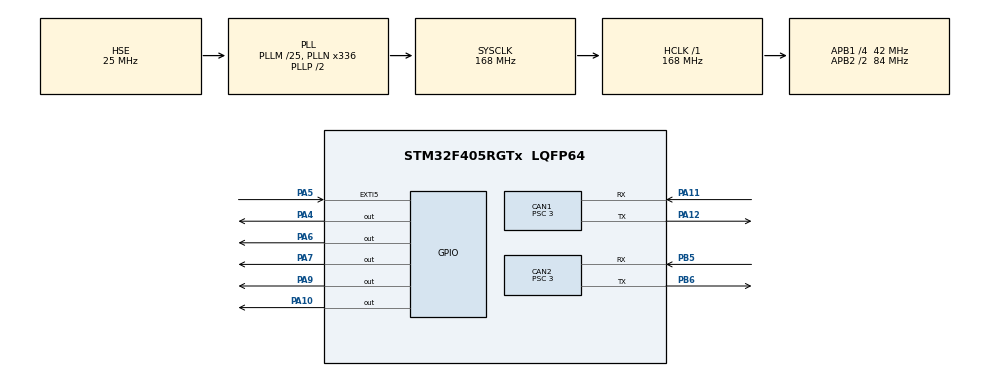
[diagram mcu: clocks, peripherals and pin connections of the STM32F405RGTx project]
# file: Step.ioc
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CAN1.ABOM=ENABLE
CAN1.AWUM=ENABLE
CAN1.BS1=CAN_BS1_9TQ
CAN1.BS2=CAN_BS2_4TQ
CAN1.CalculateBaudRate=1000000
CAN1.CalculateTimeBit=1000
CAN1.CalculateTimeQuantum=71.42857142857143
CAN1.NART=DISABLE
CAN1.Prescaler=3
CAN2.ABOM=ENABLE
CAN2.AWUM=ENABLE
CAN2.BS1=CAN_BS1_9TQ
CAN2.BS2=CAN_BS2_4TQ
CAN2.CalculateBaudRate=1000000
CAN2.CalculateTimeBit=1000
CAN2.CalculateTimeQuantum=71.42857142857143
CAN2.Prescaler=3
FREERTOS.Tasks01=defaultTask,24,128,StartDefaultTask,Default,NULL,Dynamic,NULL,NULL
FREERTOS.configCHECK_FOR_STACK_OVERFLOW=2
FREERTOS.configMAX_TASK_NAME_LEN=20
FREERTOS.configMINIMAL_STACK_SIZE=64
FREERTOS.configTIMER_TASK_STACK_DEPTH=128
FREERTOS.configUSE_MALLOC_FAILED_HOOK=1
Mcu.Family=STM32F4
Mcu.Name=STM32F405RGTx
Mcu.Package=LQFP64
NVIC.CAN1_RX0_IRQn=true\:5\:0\:false\:false\:true\:true\:true\:true\:true
NVIC.CAN1_RX1_IRQn=true\:5\:0\:false\:false\:true\:true\:true\:true\:true
NVIC.CAN1_TX_IRQn=true\:5\:0\:false\:false\:true\:true\:true\:true\:true
NVIC.CAN2_RX0_IRQn=true\:5\:0\:false\:false\:true\:true\:true\:true\:true
NVIC.CAN2_RX1_IRQn=true\:5\:0\:false\:false\:true\:true\:true\:true\:true
NVIC.CAN2_TX_IRQn=true\:5\:0\:false\:false\:true\:true\:true\:true\:true
NVIC.PriorityGroup=NVIC_PRIORITYGROUP_4
NVIC.TIM1_UP_TIM10_IRQn=true\:15\:0\:false\:false\:true\:false\:false\:true\:true
NVIC.TIM2_IRQn=true\:5\:0\:false\:false\:true\:true\:true\:true\:true
NVIC.TIM3_IRQn=true\:5\:0\:false\:false\:true\:true\:true\:true\:true
NVIC.TimeBase=TIM1_UP_TIM10_IRQn
NVIC.TimeBaseIP=TIM1
PA0-WKUP.Mode=SYS_WakeUp0
PA0-WKUP.Signal=SYS_WKUP
PA10.Signal=GPIO_Output
PA11.GPIO_PuPd=GPIO_PULLDOWN
PA11.Mode=CAN_Activate
PA11.Signal=CAN1_RX
PA12.GPIO_PuPd=GPIO_PULLDOWN
PA12.Mode=CAN_Activate
PA12.Signal=CAN1_TX
PA13.Mode=Serial_Wire
PA13.Signal=SYS_JTMS-SWDIO
PA14.Mode=Serial_Wire
PA14.Signal=SYS_JTCK-SWCLK
PA4.Signal=GPIO_Output
PA5.Signal=GPXTI5
PA6.Signal=GPIO_Output
PA7.Signal=GPIO_Output
PA9.Signal=GPIO_Output
PB5.Mode=CAN_Activate
PB5.Signal=CAN2_RX
PB6.Mode=CAN_Activate
PB6.Signal=CAN2_TX
PH0-OSC_IN.Mode=HSE-External-Oscillator
PH0-OSC_IN.Signal=RCC_OSC_IN
PH1-OSC_OUT.Mode=HSE-External-Oscillator
PH1-OSC_OUT.Signal=RCC_OSC_OUT
ProjectManager.HeapSize=0x400
ProjectManager.StackSize=0x800
ProjectManager.TargetToolchain=MDK-ARM V5.32
RCC.48MHZClocksFreq_Value=84000000
RCC.AHBFreq_Value=168000000
RCC.APB1CLKDivider=RCC_HCLK_DIV4
RCC.APB1Freq_Value=42000000
RCC.APB1TimFreq_Value=84000000
RCC.APB2CLKDivider=RCC_HCLK_DIV2
RCC.APB2Freq_Value=84000000
RCC.APB2TimFreq_Value=168000000
RCC.CortexFreq_Value=168000000
RCC.HCLKFreq_Value=168000000
RCC.HSE_VALUE=25000000
RCC.HSI_VALUE=16000000
RCC.LSE_VALUE=32768
RCC.PLLM=25
RCC.PLLN=336
RCC.PLLSourceVirtual=RCC_PLLSOURCE_HSE
RCC.SYSCLKFreq_VALUE=168000000
RCC.SYSCLKSource=RCC_SYSCLKSOURCE_PLLCLK
RCC.VCOOutputFreq_Value=336000000
TIM2.Period=999
TIM2.Prescaler=167
TIM3.Period=9999
TIM3.Prescaler=167
VP_FREERTOS_VS_CMSIS_V2.Mode=CMSIS_V2
VP_SYS_VS_tim1.Mode=TIM1
VP_TIM2_VS_ClockSourceINT.Mode=Internal
VP_TIM3_VS_ClockSourceINT.Mode=Internal
board=custom

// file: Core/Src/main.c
/* USER CODE BEGIN Header */
/**
  ******************************************************************************
  * @file           : main.c
  * @brief          : Main program body
  ******************************************************************************
  * @attention
  *
  * Copyright (c) 2025 STMicroelectronics.
  * All rights reserved.
  *
  * This software is licensed under terms that can be found in the LICENSE file
  * in the root directory of this software component.
  * If no LICENSE file comes with this software, it is provided AS-IS.
  *
  ******************************************************************************
  */
/* USER CODE END Header */
#include "main.h"
#include "cmsis_os.h"
#include "can.h"
#include "tim.h"
#include "gpio.h"

/* USER CODE BEGIN Includes */
#include "dj.h"
#include "zdrive.h"
#include "valve.h"
/* USER CODE END Includes */

void SystemClock_Config(void);
void MX_FREERTOS_Init(void);

int main(void)
{

  /* MCU Configuration--------------------------------------------------------*/

  /* Reset of all peripherals, Initializes the Flash interface and the Systick. */
  HAL_Init();

  /* Configure the system clock */
  SystemClock_Config();

  /* Initialize all configured peripherals */
  MX_GPIO_Init();
  MX_CAN1_Init();
  MX_CAN2_Init();
  MX_TIM2_Init();
  MX_TIM3_Init();
  /* USER CODE BEGIN 2 */
	CAN_Queue_Init(&CAN2_Queue, endian, 2);
  CAN_Queue_Init(&ZDrive_Queue, endian, 1);
	ZDrive_Init();
	djmotor_init();
  /* USER CODE END 2 */

  /* Init scheduler */
  osKernelInitialize();  /* Call init function for freertos objects (in cmsis_os2.c) */
  MX_FREERTOS_Init();

  /* Start scheduler */
  osKernelStart();

  /* We should never get here as control is now taken by the scheduler */

  /* Infinite loop */
  while (1)
  {

  }
}

void SystemClock_Config(void)
{
  RCC_OscInitTypeDef RCC_OscInitStruct = {0};
  RCC_ClkInitTypeDef RCC_ClkInitStruct = {0};

  /** Configure the main internal regulator output voltage
  */
  __HAL_RCC_PWR_CLK_ENABLE();
  __HAL_PWR_VOLTAGESCALING_CONFIG(PWR_REGULATOR_VOLTAGE_SCALE1);

  /** Initializes the RCC Oscillators according to the specified parameters
  * in the RCC_OscInitTypeDef structure.
  */
  RCC_OscInitStruct.OscillatorType = RCC_OSCILLATORTYPE_HSE;
  RCC_OscInitStruct.HSEState = RCC_HSE_ON;
  RCC_OscInitStruct.PLL.PLLState = RCC_PLL_ON;
  RCC_OscInitStruct.PLL.PLLSource = RCC_PLLSOURCE_HSE;
  RCC_OscInitStruct.PLL.PLLM = 25;
  RCC_OscInitStruct.PLL.PLLN = 336;
  RCC_OscInitStruct.PLL.PLLP = RCC_PLLP_DIV2;
  RCC_OscInitStruct.PLL.PLLQ = 4;
  if (HAL_RCC_OscConfig(&RCC_OscInitStruct) != HAL_OK)
  {
    Error_Handler();
  }

  /** Initializes the CPU, AHB and APB buses clocks
  */
  RCC_ClkInitStruct.ClockType = RCC_CLOCKTYPE_HCLK|RCC_CLOCKTYPE_SYSCLK
                              |RCC_CLOCKTYPE_PCLK1|RCC_CLOCKTYPE_PCLK2;
  RCC_ClkInitStruct.SYSCLKSource = RCC_SYSCLKSOURCE_PLLCLK;
  RCC_ClkInitStruct.AHBCLKDivider = RCC_SYSCLK_DIV1;
  RCC_ClkInitStruct.APB1CLKDivider = RCC_HCLK_DIV4;
  RCC_ClkInitStruct.APB2CLKDivider = RCC_HCLK_DIV2;

  if (HAL_RCC_ClockConfig(&RCC_ClkInitStruct, FLASH_LATENCY_5) != HAL_OK)
  {
    Error_Handler();
  }
}

/* USER CODE BEGIN 4 */
void HAL_CAN_RxFifo0MsgPendingCallback(CAN_HandleTypeDef* hcan){
    if(hcan->Instance == CAN1){
        if(HAL_CAN_GetRxMessage(hcan, CAN_RX_FIFO0, &Z_RxHeader, RxData) == HAL_OK){
            ZDrive_ReceiveHandler(&Z_RxHeader, RxData);
        }
        else{
            Error_Handler();
        }
    }
    else if(hcan->Instance == CAN2){
        if(HAL_CAN_GetRxMessage(hcan, CAN_RX_FIFO0, &Rxmsg, Rxmessage) == HAL_OK){
            djreceivedata_can2(Rxmsg);
        }
        else{
            Error_Handler();
        }
    }
}
/* USER CODE END 4 */

void HAL_TIM_PeriodElapsedCallback(TIM_HandleTypeDef *htim)
{
  if (htim->Instance == TIM1)
  {
    HAL_IncTick();
  }
  /* USER CODE BEGIN Callback 1 */
	if(htim->Instance ==TIM3 ){
	  ZDrive_Func();
	}
	if(htim->Instance ==TIM2 ){
		 CAN_Queue_Pop(&ZDrive_Queue);
		 djfunc();
	}
  /* USER CODE END Callback 1 */
}

void Error_Handler(void)
{
  __disable_irq();
  while (1)
  {
  }
}

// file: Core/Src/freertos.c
/* USER CODE BEGIN Header */
/**
  ******************************************************************************
  * File Name          : freertos.c
  * Description        : Code for freertos applications
  ******************************************************************************
  * @attention
  *
  * Copyright (c) 2025 STMicroelectronics.
  * All rights reserved.
  *
  * This software is licensed under terms that can be found in the LICENSE file
  * in the root directory of this software component.
  * If no LICENSE file comes with this software, it is provided AS-IS.
  *
  ******************************************************************************
  */
/* USER CODE END Header */

#include "FreeRTOS.h"
#include "task.h"
#include "main.h"
#include "cmsis_os.h"

/* USER CODE BEGIN Includes */
#include "zdrive.h"
#include "dj.h"
#include "valve.h"
#include "LED.h"
/* USER CODE END Includes */

/* USER CODE BEGIN PTD */
uint8_t flag2 = 0;
uint8_t flag1 = 0;
uint8_t flag3 = 0;
int16_t angle_front = 0;
int16_t angle_back =0;
uint8_t cmd=0;
uint8_t ok = 0;
uint8_t ok1 = 0;
uint8_t ok2 = 0;
uint8_t ok3 = 0;
uint8_t ok4 = 0;
uint8_t front_speed = 0;
/* USER CODE END PTD */

/* Definitions for defaultTask */
osThreadId_t defaultTaskHandle;
const osThreadAttr_t defaultTask_attributes = {
  .name = "defaultTask",
  .stack_size = 128 * 4,
  .priority = (osPriority_t) osPriorityNormal,
};

void StartDefaultTask(void *argument);

void MX_FREERTOS_Init(void); /* (MISRA C 2004 rule 8.1) */

/* Hook prototypes */
void vApplicationStackOverflowHook(xTaskHandle xTask, signed char *pcTaskName);
void vApplicationMallocFailedHook(void);

/* USER CODE BEGIN 4 */
void vApplicationStackOverflowHook(xTaskHandle xTask, signed char *pcTaskName)
{
   /* Run time stack overflow checking is performed if
   configCHECK_FOR_STACK_OVERFLOW is defined to 1 or 2. This hook function is
   called if a stack overflow is detected. */
}
/* USER CODE END 4 */

/* USER CODE BEGIN 5 */
void vApplicationMallocFailedHook(void)
{
   /* vApplicationMallocFailedHook() will only be called if
   configUSE_MALLOC_FAILED_HOOK is set to 1 in FreeRTOSConfig.h. It is a hook
   function that will get called if a call to pvPortMalloc() fails.
   pvPortMalloc() is called internally by the kernel whenever a task, queue,
   timer or semaphore is created. It is also called by various parts of the
   demo application. If heap_1.c or heap_2.c are used, then the size of the
   heap available to pvPortMalloc() is defined by configTOTAL_HEAP_SIZE in
   FreeRTOSConfig.h, and the xPortGetFreeHeapSize() API function can be used
   to query the size of free heap space that remains (although it does not
   provide information on how the remaining heap might be fragmented). */
}
/* USER CODE END 5 */

void MX_FREERTOS_Init(void) {

  /* Create the thread(s) */
  /* creation of defaultTask */
  defaultTaskHandle = osThreadNew(StartDefaultTask, NULL, &defaultTask_attributes);

}

void StartDefaultTask(void *argument)
{
  /* USER CODE BEGIN StartDefaultTask */
  /* Infinite loop */
  for(;;)
  {
//				if(flag2 == 1)
//		{

//				ZDrive[0].enable = 1;
//   			ZDrive[0].begin = 1;
//				ZDrive[1].enable = 1;
//				ZDrive[1].begin = 1;
//				ZDrive[0].Mode = Zdrive_Position;
//				ZDrive[1].Mode = Zdrive_Position;
//				ZDrive[0].ValueSetNow.angle = -(float)angle_back;
//				ZDrive[1].ValueSetNow.angle = -(float)angle_back;
//		}
//		else{
//			  ZDrive[0].enable = 0;
//				ZDrive[0].begin = 0;
//				ZDrive[1].enable = 0;
//				ZDrive[1].begin = 0;
//				ZDrive[0].Mode = Zdrive_Position;
//				ZDrive[1].Mode = Zdrive_Position;
//				ZDrive[0].ValueSetNow.angle = -(float)angle_back;
//				ZDrive[1].ValueSetNow.angle = -(float)angle_back;
//		}
//				if(flag1 == 1)
//		{
//				ZDrive[2].enable = 1;
//   			ZDrive[2].begin = 1;
//				ZDrive[3].enable = 1;
//				ZDrive[3].begin = 1;
//				ZDrive[2].Mode = Zdrive_Position;
//				ZDrive[3].Mode = Zdrive_Position;
//				ZDrive[2].ValueSetNow.angle = (float)angle_front;
//				ZDrive[3].ValueSetNow.angle = (float)angle_front;
//		}
//		else{
//			  ZDrive[2].enable = 0;
//				ZDrive[2].begin = 0;
//				ZDrive[3].enable = 0;
//				ZDrive[3].begin = 0;
//				ZDrive[2].Mode = Zdrive_Position;
//				ZDrive[3].Mode = Zdrive_Position;
//				ZDrive[2].ValueSetNow.angle = (float)angle_front;
//				ZDrive[3].ValueSetNow.angle = (float)angle_front;
//		}
//		    if(ok == 1){
//			  if(ok1){
//		    flag1 = 1;
//			  osDelay (10);
//			  angle_front = -60;
//			  osDelay(5000);
//				}
//		    if(ok2){
//				flag2 = 1;
//			  osDelay(10);
//			  angle_front = 0;
//			  angle_back = -90;
//			  front_speed = 10;
//				osDelay(5000);
//				}
//			  if(ok3){
//				angle_back = 0;
//				front_speed = 0;
//				}
//				if(ok4){
//				flag1 = 0;
//				flag2 = 0;
//				flag3 = 0;
//				}
//			  ok =0;
//		}
    LED_Flow();
		osDelay(1);
  }
  /* USER CODE END StartDefaultTask */
}
